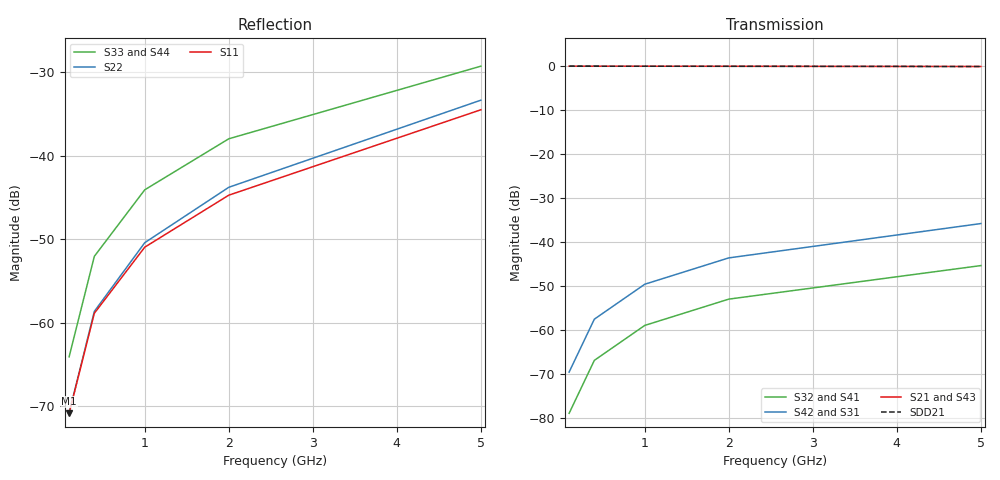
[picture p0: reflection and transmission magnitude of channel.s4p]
! Raw Palace field extraction; port order: U1.OUT, U2.IN, U3.OUT, U4.IN
# Hz S RI R 50
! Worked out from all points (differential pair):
!   5 points, 100 MHz to 5 GHz, reference 50 ohm
!   strongest paths, dB at 100 MHz, 400 MHz, 1 GHz, 2 GHz, 5 GHz:
!     S21: 0.0, 0.0, 0.0, 0.0, -0.1
!     S43: 0.0, 0.0, 0.0, 0.0, -0.1
!     S42: -69.6, -57.6, -49.6, -43.6, -35.8
!     S31: -69.6, -57.6, -49.6, -43.6, -35.8
!     S32: -79.0, -66.9, -59.0, -53.0, -45.4
!     S41: -79.0, -66.9, -59.0, -53.0, -45.4
!   taken as a pair (ports 1,3 in; 2,4 out), SDD21 dB: 0.0, 0.0, 0.0, 0.0, -0.1
!   lowest |S11| = -70.8 dB at 100 MHz (marker M1), VSWR 1.00, Z = 50 - j0.0252 ohm
!   |S11| at or under -10 dB: start of sweep to end of sweep
1e8  -0.000137 -0.000252  0.9997 -0.0158  5.05e-06 0.000331  -2.06e-06 -0.000112
     0.9997 -0.0158  -0.000141 -0.000252  -2.03e-06 -0.000112  5.13e-06 0.000331
     5.04e-06 0.000331  -2.03e-06 -0.000112  -0.000149 -0.000608  0.9997 -0.0161
     -2.06e-06 -0.000112  5.13e-06 0.000331  0.9997 -0.0161  -0.000152 -0.000608
4e8  -0.00057 -0.000988  0.9975 -0.063  8.14e-05 0.00132  -3.22e-05 -0.000448
     0.9975 -0.063  -0.000636 -0.000982  -3.17e-05 -0.000448  8.27e-05 0.00132
     8.14e-05 0.00132  -3.17e-05 -0.000448  -0.000692 -0.0024  0.9973 -0.0644
     -3.22e-05 -0.000448  8.27e-05 0.00132  0.9973 -0.0644  -0.000743 -0.0024
1e9  -0.00153 -0.00239  0.9862 -0.1568  0.000507 0.00326  -0.000199 -0.00111
     0.9862 -0.1568  -0.00193 -0.00231  -0.000196 -0.00111  0.000516 0.00326
     0.000507 0.00326  -0.000196 -0.00111  -0.00221 -0.00585  0.9856 -0.1603
     -0.000199 -0.00111  0.000516 0.00326  0.9856 -0.1603  -0.00252 -0.0058
2e9  -0.00345 -0.00467  0.9478 -0.3093  0.002 0.00627  -0.000778 -0.0021
     0.9478 -0.3093  -0.00499 -0.00413  -0.000767 -0.0021  0.00203 0.00627
     0.002 0.00627  -0.000767 -0.0021  -0.00596 -0.0111  0.9455 -0.3159
     -0.000778 -0.0021  0.00203 0.00627  0.9455 -0.3159  -0.00716 -0.0107
5e9  -0.0143 -0.0123  0.6983 -0.7037  0.0113 0.0115  -0.0041 -0.00346
     0.6983 -0.7037  -0.0209 -0.00527  -0.00407 -0.00353  0.0115 0.0114
     0.0113 0.0115  -0.00407 -0.00353  -0.0266 -0.0217  0.6857 -0.7152
     -0.0041 -0.00346  0.0115 0.0114  0.6857 -0.7152  -0.0315 -0.0164
